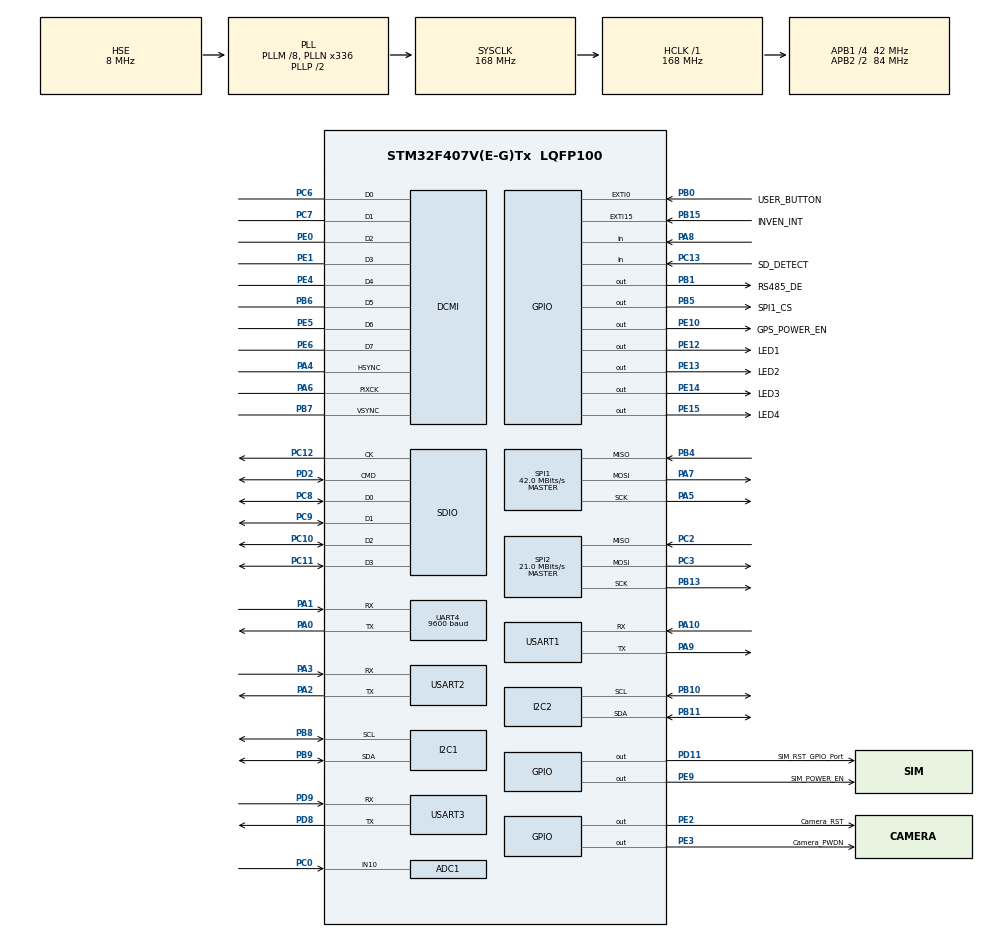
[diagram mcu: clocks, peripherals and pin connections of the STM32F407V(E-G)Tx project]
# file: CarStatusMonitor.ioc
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ADC1.Channel-0\#ChannelRegularConversion=ADC_CHANNEL_10
ADC1.NbrOfConversionFlag=1
ADC1.Rank-0\#ChannelRegularConversion=1
ADC1.SamplingTime-0\#ChannelRegularConversion=ADC_SAMPLETIME_3CYCLES
ADC1.master=1
DCMI.JPEGMode=DCMI_JPEG_DISABLE
DCMI.PCKPolarity=DCMI_PCKPOLARITY_RISING
Dma.DCMI.2.Direction=DMA_PERIPH_TO_MEMORY
Dma.DCMI.2.FIFOMode=DMA_FIFOMODE_DISABLE
Dma.DCMI.2.Instance=DMA2_Stream1
Dma.DCMI.2.MemDataAlignment=DMA_MDATAALIGN_WORD
Dma.DCMI.2.MemInc=DMA_MINC_ENABLE
Dma.DCMI.2.Mode=DMA_CIRCULAR
Dma.DCMI.2.PeriphDataAlignment=DMA_PDATAALIGN_WORD
Dma.DCMI.2.PeriphInc=DMA_PINC_DISABLE
Dma.DCMI.2.Priority=DMA_PRIORITY_LOW
Dma.Request0=USART2_RX
Dma.Request1=UART4_RX
Dma.Request2=DCMI
Dma.Request3=SDIO_RX
Dma.Request4=SDIO_TX
Dma.SDIO_RX.3.Direction=DMA_PERIPH_TO_MEMORY
Dma.SDIO_RX.3.FIFOMode=DMA_FIFOMODE_ENABLE
Dma.SDIO_RX.3.FIFOThreshold=DMA_FIFO_THRESHOLD_FULL
Dma.SDIO_RX.3.Instance=DMA2_Stream3
Dma.SDIO_RX.3.MemBurst=DMA_MBURST_INC4
Dma.SDIO_RX.3.MemDataAlignment=DMA_MDATAALIGN_WORD
Dma.SDIO_RX.3.MemInc=DMA_MINC_ENABLE
Dma.SDIO_RX.3.Mode=DMA_PFCTRL
Dma.SDIO_RX.3.PeriphBurst=DMA_PBURST_INC4
Dma.SDIO_RX.3.PeriphDataAlignment=DMA_PDATAALIGN_WORD
Dma.SDIO_RX.3.PeriphInc=DMA_PINC_DISABLE
Dma.SDIO_RX.3.Priority=DMA_PRIORITY_LOW
Dma.SDIO_TX.4.Direction=DMA_MEMORY_TO_PERIPH
Dma.SDIO_TX.4.FIFOMode=DMA_FIFOMODE_ENABLE
Dma.SDIO_TX.4.FIFOThreshold=DMA_FIFO_THRESHOLD_FULL
Dma.SDIO_TX.4.Instance=DMA2_Stream6
Dma.SDIO_TX.4.MemBurst=DMA_MBURST_INC4
Dma.SDIO_TX.4.MemDataAlignment=DMA_MDATAALIGN_WORD
Dma.SDIO_TX.4.MemInc=DMA_MINC_ENABLE
Dma.SDIO_TX.4.Mode=DMA_PFCTRL
Dma.SDIO_TX.4.PeriphBurst=DMA_PBURST_INC4
Dma.SDIO_TX.4.PeriphDataAlignment=DMA_PDATAALIGN_WORD
Dma.SDIO_TX.4.PeriphInc=DMA_PINC_DISABLE
Dma.SDIO_TX.4.Priority=DMA_PRIORITY_LOW
Dma.UART4_RX.1.Direction=DMA_PERIPH_TO_MEMORY
Dma.UART4_RX.1.FIFOMode=DMA_FIFOMODE_DISABLE
Dma.UART4_RX.1.Instance=DMA1_Stream2
Dma.UART4_RX.1.MemDataAlignment=DMA_MDATAALIGN_BYTE
Dma.UART4_RX.1.MemInc=DMA_MINC_ENABLE
Dma.UART4_RX.1.Mode=DMA_NORMAL
Dma.UART4_RX.1.PeriphDataAlignment=DMA_PDATAALIGN_BYTE
Dma.UART4_RX.1.PeriphInc=DMA_PINC_DISABLE
Dma.UART4_RX.1.Priority=DMA_PRIORITY_LOW
Dma.USART2_RX.0.Direction=DMA_PERIPH_TO_MEMORY
Dma.USART2_RX.0.FIFOMode=DMA_FIFOMODE_DISABLE
Dma.USART2_RX.0.Instance=DMA1_Stream5
Dma.USART2_RX.0.MemDataAlignment=DMA_MDATAALIGN_BYTE
Dma.USART2_RX.0.MemInc=DMA_MINC_ENABLE
Dma.USART2_RX.0.Mode=DMA_NORMAL
Dma.USART2_RX.0.PeriphDataAlignment=DMA_PDATAALIGN_BYTE
Dma.USART2_RX.0.PeriphInc=DMA_PINC_DISABLE
Dma.USART2_RX.0.Priority=DMA_PRIORITY_LOW
FATFS.BSP.number=1
FATFS0.BSP.STBoard=false
FATFS0.BSP.api=Unknown
FATFS0.BSP.instance=PC13-ANTI_TAMP
FATFS0.BSP.ip=GPIO
FATFS0.BSP.mode=Input
FATFS0.BSP.name=Detect_SDIO
FATFS0.BSP.solution=PC13-ANTI_TAMP
FREERTOS.INCLUDE_uxTaskGetStackHighWaterMark=1
FREERTOS.INCLUDE_vTaskDelayUntil=1
FREERTOS.Tasks01=defaultTask,-2,128,StartDefaultTask,Default,NULL,Dynamic,NULL,NULL;myTaskGPS,-1,512,StartTaskGPS,As external,NULL,Dynamic,NULL,NULL;myTaskMPU,1,1024,StartTaskMPU,As external,NULL,Dynamic,NULL,NULL;myTaskSensors,0,256,StartTaskSensorsGet,As external,NULL,Dynamic,NULL,NULL;uSDThread,-1,1024,StartTaskSD,As external,NULL,Dynamic,NULL,NULL;myTaskGSM,0,1024,StartTaskGSM,As external,NULL,Dynamic,NULL,NULL;myTaskCamera,-1,1024,StartTaskCamera,As external,NULL,Dynamic,NULL,NULL
FREERTOS.configTOTAL_HEAP_SIZE=0x8000
FREERTOS.configUSE_COUNTING_SEMAPHORES=1
FREERTOS.configUSE_TICKLESS_IDLE=1
FREERTOS.configUSE_TRACE_FACILITY=1
I2C1.I2C_Mode=I2C_Fast
I2C2.I2C_Mode=I2C_Standard
Mcu.Family=STM32F4
Mcu.Name=STM32F407V(E-G)Tx
Mcu.Package=LQFP100
NVIC.DCMI_IRQn=true\:5\:0\:false\:false\:true\:true\:true
NVIC.DMA1_Stream2_IRQn=true\:5\:0\:false\:false\:true\:true\:false
NVIC.DMA1_Stream5_IRQn=true\:5\:0\:false\:false\:true\:true\:false
NVIC.DMA2_Stream1_IRQn=true\:5\:0\:false\:false\:true\:true\:false
NVIC.DMA2_Stream3_IRQn=true\:5\:0\:false\:false\:true\:true\:false
NVIC.DMA2_Stream6_IRQn=true\:5\:0\:false\:false\:true\:true\:false
NVIC.EXTI0_IRQn=true\:5\:0\:false\:false\:true\:true\:true
NVIC.EXTI15_10_IRQn=true\:6\:0\:true\:false\:true\:true\:true
NVIC.PriorityGroup=NVIC_PRIORITYGROUP_4
NVIC.SDIO_IRQn=true\:5\:0\:false\:false\:true\:true\:true
NVIC.TIM2_IRQn=true\:0\:0\:false\:false\:true\:false\:false
NVIC.TimeBase=TIM2_IRQn
NVIC.TimeBaseIP=TIM2
NVIC.UART4_IRQn=true\:8\:0\:true\:false\:true\:true\:true
NVIC.USART1_IRQn=true\:5\:0\:false\:false\:true\:true\:true
NVIC.USART2_IRQn=true\:5\:0\:false\:false\:true\:true\:true
NVIC.USART3_IRQn=true\:5\:0\:false\:false\:true\:true\:true
PA0-WKUP.Mode=Asynchronous
PA0-WKUP.Signal=UART4_TX
PA1.Mode=Asynchronous
PA1.Signal=UART4_RX
PA10.Mode=Asynchronous
PA10.Signal=USART1_RX
PA13.Mode=Trace_Asynchronous_SW
PA13.Signal=SYS_JTMS-SWDIO
PA14.Mode=Trace_Asynchronous_SW
PA14.Signal=SYS_JTCK-SWCLK
PA2.Mode=Asynchronous
PA2.Signal=USART2_TX
PA3.Mode=Asynchronous
PA3.Signal=USART2_RX
PA4.GPIO_PuPd=GPIO_PULLUP
PA4.GPIO_Speed=GPIO_SPEED_FREQ_HIGH
PA4.Mode=Slave_8_bits_External_Synchro
PA4.Signal=DCMI_HSYNC
PA5.Mode=Full_Duplex_Master
PA5.Signal=SPI1_SCK
PA6.GPIO_PuPd=GPIO_PULLUP
PA6.GPIO_Speed=GPIO_SPEED_FREQ_HIGH
PA6.Mode=Slave_8_bits_External_Synchro
PA6.Signal=DCMI_PIXCK
PA7.Mode=Full_Duplex_Master
PA7.Signal=SPI1_MOSI
PA8.Signal=GPIO_Input
PA9.Mode=Asynchronous
PA9.Signal=USART1_TX
PB0.GPIO_Label=USER_BUTTON
PB0.GPIO_ModeDefaultEXTI=GPIO_MODE_IT_FALLING
PB0.Signal=GPXTI0
PB1.GPIO_Label=RS485_DE
PB1.GPIO_PuPd=GPIO_PULLUP
PB1.Signal=GPIO_Output
PB10.GPIO_PuPdOD=GPIO_NOPULL
PB10.Mode=I2C
PB10.Signal=I2C2_SCL
PB11.GPIO_PuPdOD=GPIO_NOPULL
PB11.Mode=I2C
PB11.Signal=I2C2_SDA
PB12.Signal=SPI2_NSS
PB13.Mode=Full_Duplex_Master
PB13.Signal=SPI2_SCK
PB15.GPIO_Label=INVEN_INT
PB15.GPIO_ModeDefaultEXTI=GPIO_MODE_IT_FALLING
PB15.GPIO_PuPd=GPIO_PULLUP
PB15.Signal=GPXTI15
PB3.Mode=Trace_Asynchronous_SW
PB3.Signal=SYS_JTDO-SWO
PB4.Mode=Full_Duplex_Master
PB4.Signal=SPI1_MISO
PB5.GPIO_Label=SPI1_CS
PB5.GPIO_PuPd=GPIO_PULLDOWN
PB5.Signal=GPIO_Output
PB6.GPIO_PuPd=GPIO_PULLUP
PB6.GPIO_Speed=GPIO_SPEED_FREQ_HIGH
PB6.Mode=Slave_8_bits_External_Synchro
PB6.Signal=DCMI_D5
PB7.GPIO_PuPd=GPIO_PULLUP
PB7.GPIO_Speed=GPIO_SPEED_FREQ_HIGH
PB7.Mode=Slave_8_bits_External_Synchro
PB7.Signal=DCMI_VSYNC
PB8.Mode=I2C
PB8.Signal=I2C1_SCL
PB9.Mode=I2C
PB9.Signal=I2C1_SDA
PC0.Signal=ADCx_IN10
PC10.Mode=SD_4_bits_Wide_bus
PC10.Signal=SDIO_D2
PC11.Mode=SD_4_bits_Wide_bus
PC11.Signal=SDIO_D3
PC12.Mode=SD_4_bits_Wide_bus
PC12.Signal=SDIO_CK
PC13-ANTI_TAMP.GPIO_Label=SD_DETECT
PC13-ANTI_TAMP.Signal=GPIO_Input
PC14-OSC32_IN.Mode=LSE-External-Oscillator
PC14-OSC32_IN.Signal=RCC_OSC32_IN
PC15-OSC32_OUT.Mode=LSE-External-Oscillator
PC15-OSC32_OUT.Signal=RCC_OSC32_OUT
PC2.Mode=Full_Duplex_Master
PC2.Signal=SPI2_MISO
PC3.Mode=Full_Duplex_Master
PC3.Signal=SPI2_MOSI
PC6.GPIO_PuPd=GPIO_PULLUP
PC6.GPIO_Speed=GPIO_SPEED_FREQ_HIGH
PC6.Mode=Slave_8_bits_External_Synchro
PC6.Signal=DCMI_D0
PC7.GPIO_PuPd=GPIO_PULLUP
PC7.GPIO_Speed=GPIO_SPEED_FREQ_HIGH
PC7.Mode=Slave_8_bits_External_Synchro
PC7.Signal=DCMI_D1
PC8.Mode=SD_4_bits_Wide_bus
PC8.Signal=SDIO_D0
PC9.Mode=SD_4_bits_Wide_bus
PC9.Signal=SDIO_D1
PD11.GPIO_Label=SIM_RST_GPIO_Port
PD11.GPIO_PuPd=GPIO_NOPULL
PD11.Signal=GPIO_Output
PD2.Mode=SD_4_bits_Wide_bus
PD2.Signal=SDIO_CMD
PD8.Mode=Asynchronous
PD8.Signal=USART3_TX
PD9.Mode=Asynchronous
PD9.Signal=USART3_RX
PE0.GPIO_PuPd=GPIO_PULLUP
PE0.GPIO_Speed=GPIO_SPEED_FREQ_HIGH
PE0.Mode=Slave_8_bits_External_Synchro
PE0.Signal=DCMI_D2
PE1.GPIO_PuPd=GPIO_PULLUP
PE1.GPIO_Speed=GPIO_SPEED_FREQ_HIGH
PE1.Mode=Slave_8_bits_External_Synchro
PE1.Signal=DCMI_D3
PE10.GPIO_Label=GPS_POWER_EN
PE10.GPIO_PuPd=GPIO_PULLDOWN
PE10.Signal=GPIO_Output
PE12.GPIO_Label=LED1
PE12.GPIO_PuPd=GPIO_PULLDOWN
PE12.Signal=GPIO_Output
PE13.GPIO_Label=LED2
PE13.GPIO_PuPd=GPIO_PULLDOWN
PE13.Signal=GPIO_Output
PE14.GPIO_Label=LED3
PE14.GPIO_PuPd=GPIO_PULLDOWN
PE14.Signal=GPIO_Output
PE15.GPIO_Label=LED4
PE15.GPIO_PuPd=GPIO_PULLDOWN
PE15.Signal=GPIO_Output
PE2.GPIO_Label=Camera_RST
PE2.GPIO_PuPd=GPIO_PULLUP
PE2.Signal=GPIO_Output
PE3.GPIO_Label=Camera_PWDN
PE3.GPIO_PuPd=GPIO_PULLUP
PE3.Signal=GPIO_Output
PE4.GPIO_PuPd=GPIO_PULLUP
PE4.GPIO_Speed=GPIO_SPEED_FREQ_HIGH
PE4.Mode=Slave_8_bits_External_Synchro
PE4.Signal=DCMI_D4
PE5.GPIO_PuPd=GPIO_PULLUP
PE5.GPIO_Speed=GPIO_SPEED_FREQ_HIGH
PE5.Mode=Slave_8_bits_External_Synchro
PE5.Signal=DCMI_D6
PE6.GPIO_PuPd=GPIO_PULLUP
PE6.GPIO_Speed=GPIO_SPEED_FREQ_HIGH
PE6.Mode=Slave_8_bits_External_Synchro
PE6.Signal=DCMI_D7
PE9.GPIO_Label=SIM_POWER_EN
PE9.GPIO_PuPd=GPIO_PULLDOWN
PE9.Signal=GPIO_Output
PH0-OSC_IN.Mode=HSE-External-Oscillator
PH0-OSC_IN.Signal=RCC_OSC_IN
PH1-OSC_OUT.Mode=HSE-External-Oscillator
PH1-OSC_OUT.Signal=RCC_OSC_OUT
ProjectManager.HeapSize=0x200
ProjectManager.StackSize=0x400
ProjectManager.TargetToolchain=MDK-ARM V5
RCC.48MHZClocksFreq_Value=48000000
RCC.AHBFreq_Value=168000000
RCC.APB1CLKDivider=RCC_HCLK_DIV4
RCC.APB1Freq_Value=42000000
RCC.APB1TimFreq_Value=84000000
RCC.APB2CLKDivider=RCC_HCLK_DIV2
RCC.APB2Freq_Value=84000000
RCC.APB2TimFreq_Value=168000000
RCC.CortexFreq_Value=168000000
RCC.HCLKFreq_Value=168000000
RCC.HSE_VALUE=8000000
RCC.HSI_VALUE=16000000
RCC.PLLM=8
RCC.PLLN=336
RCC.PLLQ=7
RCC.PLLSourceVirtual=RCC_PLLSOURCE_HSE
RCC.RCC_MCO1Source=RCC_MCO1SOURCE_PLLCLK
RCC.RCC_MCODiv1=RCC_MCODIV_5
RCC.RCC_RTC_Clock_Source=RCC_RTCCLKSOURCE_LSE
RCC.RCC_RTC_Clock_SourceVirtual=RCC_RTCCLKSOURCE_LSE
RCC.SYSCLKFreq_VALUE=168000000
RCC.SYSCLKSource=RCC_SYSCLKSOURCE_PLLCLK
RCC.VCOOutputFreq_Value=336000000
RTC.Date=17
RTC.Format=RTC_FORMAT_BIN
RTC.Month=RTC_MONTH_JUNE
SH.ADCx_IN10.0=ADC1_IN10,IN10
SPI1.BaudRatePrescaler=SPI_BAUDRATEPRESCALER_2
SPI1.CalculateBaudRate=42.0 MBits/s
SPI1.Direction=SPI_DIRECTION_2LINES
SPI1.Mode=SPI_MODE_MASTER
SPI1.VirtualType=VM_MASTER
SPI2.BaudRatePrescaler=SPI_BAUDRATEPRESCALER_2
SPI2.CalculateBaudRate=21.0 MBits/s
SPI2.Direction=SPI_DIRECTION_2LINES
SPI2.Mode=SPI_MODE_MASTER
SPI2.VirtualType=VM_MASTER
UART4.BaudRate=9600
UART4.VirtualMode=Asynchronous
USART1.VirtualMode=VM_ASYNC
USART2.VirtualMode=VM_ASYNC
USART3.VirtualMode=VM_ASYNC
VP_CRC_VS_CRC.Mode=CRC_Activate
VP_FATFS_VS_Generic.Mode=User_defined
VP_FATFS_VS_SDIO.Mode=SDIO
VP_FREERTOS_VS_ENABLE.Mode=Enabled
VP_RTC_VS_RTC_Activate.Mode=RTC_Enabled
VP_RTC_VS_RTC_Calendar.Mode=RTC_Calendar
VP_SYS_VS_tim2.Mode=TIM2
board=custom

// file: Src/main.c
/**
  ******************************************************************************
  * @file           : main.c
  * @brief          : Main program body
  ******************************************************************************
  * This notice applies to any and all portions of this file
  * that are not between comment pairs USER CODE BEGIN and
  * USER CODE END. Other portions of this file, whether
  * inserted by the user or by software development tools
  * are owned by their respective copyright owners.
  *
  * Copyright (c) 2019 STMicroelectronics International N.V.
  * All rights reserved.
  *
  * Redistribution and use in source and binary forms, with or without
  * modification, are permitted, provided that the following conditions are met:
  *
  * 1. Redistribution of source code must retain the above copyright notice,
  *    this list of conditions and the following disclaimer.
  * 2. Redistributions in binary form must reproduce the above copyright notice,
  *    this list of conditions and the following disclaimer in the documentation
  *    and/or other materials provided with the distribution.
  * 3. Neither the name of STMicroelectronics nor the names of other
  *    contributors to this software may be used to endorse or promote products
  *    derived from this software without specific written permission.
  * 4. This software, including modifications and/or derivative works of this
  *    software, must execute solely and exclusively on microcontroller or
  *    microprocessor devices manufactured by or for STMicroelectronics.
  * 5. Redistribution and use of this software other than as permitted under
  *    this license is void and will automatically terminate your rights under
  *    this license.
  *
  * THIS SOFTWARE IS PROVIDED BY STMICROELECTRONICS AND CONTRIBUTORS "AS IS"
  * AND ANY EXPRESS, IMPLIED OR STATUTORY WARRANTIES, INCLUDING, BUT NOT
  * LIMITED TO, THE IMPLIED WARRANTIES OF MERCHANTABILITY, FITNESS FOR A
  * PARTICULAR PURPOSE AND NON-INFRINGEMENT OF THIRD PARTY INTELLECTUAL PROPERTY
  * RIGHTS ARE DISCLAIMED TO THE FULLEST EXTENT PERMITTED BY LAW. IN NO EVENT
  * SHALL STMICROELECTRONICS OR CONTRIBUTORS BE LIABLE FOR ANY DIRECT, INDIRECT,
  * INCIDENTAL, SPECIAL, EXEMPLARY, OR CONSEQUENTIAL DAMAGES (INCLUDING, BUT NOT
  * LIMITED TO, PROCUREMENT OF SUBSTITUTE GOODS OR SERVICES; LOSS OF USE, DATA,
  * OR PROFITS; OR BUSINESS INTERRUPTION) HOWEVER CAUSED AND ON ANY THEORY OF
  * LIABILITY, WHETHER IN CONTRACT, STRICT LIABILITY, OR TORT (INCLUDING
  * NEGLIGENCE OR OTHERWISE) ARISING IN ANY WAY OUT OF THE USE OF THIS SOFTWARE,
  * EVEN IF ADVISED OF THE POSSIBILITY OF SUCH DAMAGE.
  *
  ******************************************************************************
  */
#include "main.h"
#include "stm32f4xx_hal.h"
#include "cmsis_os.h"
#include "adc.h"
#include "crc.h"
#include "dcmi.h"
#include "dma.h"
#include "fatfs.h"
#include "i2c.h"
#include "rtc.h"
#include "sdio.h"
#include "spi.h"
#include "usart.h"
#include "gpio.h"

/* USER CODE BEGIN Includes */
#include "osprintf.h"
#include "easyflash.h"
#include <stdio.h>
#include "os_i2c.h"
#include "rtc_time.h"
/* USER CODE END Includes */

/* USER CODE BEGIN PV */
/* Private variables ---------------------------------------------------------*/
#define xConsoleUart  huart1

/* USER CODE END PV */

void SystemClock_Config(void);
void MX_FREERTOS_Init(void);

/* USER CODE BEGIN PFP */
/* Private function prototypes -----------------------------------------------*/

extern void HAL_GpsInit( void );

/* USER CODE END PFP */

/* USER CODE BEGIN 0 */
extern int SHT_TEST(void) ;
extern int bmp280_test(void);
extern void opt_test(void );
extern int mpu_main(void);

/* USER CODE END 0 */

int main(void)
{
  /* USER CODE BEGIN 1 */
nmeaTIME	local_time;
  /* USER CODE END 1 */

  /* MCU Configuration----------------------------------------------------------*/

  /* Reset of all peripherals, Initializes the Flash interface and the Systick. */
  HAL_Init();

  /* Configure the system clock */
  SystemClock_Config();

  /* Initialize all configured peripherals */
  MX_GPIO_Init();
  MX_DMA_Init();
  MX_ADC1_Init();
  MX_CRC_Init();
  MX_DCMI_Init();
  MX_I2C1_Init();
  MX_I2C2_Init();
  MX_RTC_Init();
  MX_SDIO_SD_Init();
  MX_SPI1_Init();
  MX_SPI2_Init();
  MX_UART4_Init();
  MX_USART1_UART_Init();
  MX_USART2_UART_Init();
  MX_USART3_UART_Init();
  /* USER CODE BEGIN 2 */
 //   HAL_NVIC_DisableIRQ(EXTI15_10_IRQn);
	os_iic();
	 if (easyflash_init() == EF_NO_ERR) {
         printf("easy flash success!\r\n");
	 }
	 else
	 {
		  printf("easy flash error!\r\n");
		 while(1);
	 }
	osprintf_init();
//	mpu_main();// SHT_TEST();//
	 //opt_test(  );
//bmp280_test(); //SHT_TEST();
	HAL_GpsInit( );
	TM_GetLocaltime(&local_time);
	printf("start time is %d:%d:%d\r\n",local_time.hour,local_time.min,local_time.sec);
  /* USER CODE END 2 */

  /* Call init function for freertos objects (in freertos.c) */
  MX_FREERTOS_Init();

  /* Start scheduler */
  osKernelStart();

  /* We should never get here as control is now taken by the scheduler */

  /* Infinite loop */
  while (1)
  {

  }

}

void SystemClock_Config(void)
{

  RCC_OscInitTypeDef RCC_OscInitStruct;
  RCC_ClkInitTypeDef RCC_ClkInitStruct;
  RCC_PeriphCLKInitTypeDef PeriphClkInitStruct;

    /**Configure the main internal regulator output voltage
    */
  __HAL_RCC_PWR_CLK_ENABLE();

  __HAL_PWR_VOLTAGESCALING_CONFIG(PWR_REGULATOR_VOLTAGE_SCALE1);

    /**Initializes the CPU, AHB and APB busses clocks
    */
  RCC_OscInitStruct.OscillatorType = RCC_OSCILLATORTYPE_HSE|RCC_OSCILLATORTYPE_LSE;
  RCC_OscInitStruct.HSEState = RCC_HSE_ON;
  RCC_OscInitStruct.LSEState = RCC_LSE_ON;
  RCC_OscInitStruct.PLL.PLLState = RCC_PLL_ON;
  RCC_OscInitStruct.PLL.PLLSource = RCC_PLLSOURCE_HSE;
  RCC_OscInitStruct.PLL.PLLM = 8;
  RCC_OscInitStruct.PLL.PLLN = 336;
  RCC_OscInitStruct.PLL.PLLP = RCC_PLLP_DIV2;
  RCC_OscInitStruct.PLL.PLLQ = 7;
  if (HAL_RCC_OscConfig(&RCC_OscInitStruct) != HAL_OK)
  {
    _Error_Handler(__FILE__, __LINE__);
  }

    /**Initializes the CPU, AHB and APB busses clocks
    */
  RCC_ClkInitStruct.ClockType = RCC_CLOCKTYPE_HCLK|RCC_CLOCKTYPE_SYSCLK
                              |RCC_CLOCKTYPE_PCLK1|RCC_CLOCKTYPE_PCLK2;
  RCC_ClkInitStruct.SYSCLKSource = RCC_SYSCLKSOURCE_PLLCLK;
  RCC_ClkInitStruct.AHBCLKDivider = RCC_SYSCLK_DIV1;
  RCC_ClkInitStruct.APB1CLKDivider = RCC_HCLK_DIV4;
  RCC_ClkInitStruct.APB2CLKDivider = RCC_HCLK_DIV2;

  if (HAL_RCC_ClockConfig(&RCC_ClkInitStruct, FLASH_LATENCY_5) != HAL_OK)
  {
    _Error_Handler(__FILE__, __LINE__);
  }

  PeriphClkInitStruct.PeriphClockSelection = RCC_PERIPHCLK_RTC;
  PeriphClkInitStruct.RTCClockSelection = RCC_RTCCLKSOURCE_LSE;
  if (HAL_RCCEx_PeriphCLKConfig(&PeriphClkInitStruct) != HAL_OK)
  {
    _Error_Handler(__FILE__, __LINE__);
  }

    /**Configure the Systick interrupt time
    */
  HAL_SYSTICK_Config(HAL_RCC_GetHCLKFreq()/1000);

    /**Configure the Systick
    */
  HAL_SYSTICK_CLKSourceConfig(SYSTICK_CLKSOURCE_HCLK);

  /* SysTick_IRQn interrupt configuration */
  HAL_NVIC_SetPriority(SysTick_IRQn, 15, 0);
}

/* USER CODE BEGIN 4 */
#if (defined(__GNUC__) && !defined(__CC_ARM))
/* With GCC/RAISONANCE, small printf (option LD Linker->Libraries->Small printf
   set to 'Yes') calls __io_putchar() */
#define PUTCHAR_PROTOTYPE int __io_putchar(int ch)
#define GETCHAR_PROTOTYPE int __io_getchar(void)
#else
#define PUTCHAR_PROTOTYPE int fputc(int ch, FILE *f)
#define GETCHAR_PROTOTYPE int fgetc(FILE *f)
#endif /* __GNUC__ */

/**
  * @brief  Retargets the C library printf function to the USART.
  * @param  None
  * @retval None
  */
PUTCHAR_PROTOTYPE
{
  /* Place your implementation of fputc here */
  /* e.g. write a character to the USART2 and Loop until the end of transmission */
    HAL_UART_Transmit(&xConsoleUart, (uint8_t *) &ch, 1, 30000);

  return ch;
}

/**
  * @brief  Retargets the C library scanf function to the USART.
  * @param  None
  * @retval None
  */
GETCHAR_PROTOTYPE
{
  /* Place your implementation of fgetc here */
  /* e.g. read a character on USART and loop until the end of read */
  uint8_t ch = 0;
  while (HAL_OK != HAL_UART_Receive(&xConsoleUart, (uint8_t *)&ch, 1, 30000))
  {
    ;
  }
  return ch;
}
void vMainUARTPrintString( char * pcString )
{
    const uint32_t ulTimeout = 3000UL;

    HAL_UART_Transmit( &xConsoleUart,
                       ( uint8_t * ) pcString,
                       strlen( pcString ),
                       ulTimeout );
}

/* USER CODE END 4 */

void HAL_TIM_PeriodElapsedCallback(TIM_HandleTypeDef *htim)
{
  if (htim->Instance == TIM2) {
    HAL_IncTick();
  }
}

void _Error_Handler(char *file, int line)
{
  while(1)
  {
  }
}

/************************ (C) COPYRIGHT STMicroelectronics *****END OF FILE****/

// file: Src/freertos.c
/* USER CODE BEGIN Header */
/**
  ******************************************************************************
  * File Name          : freertos.c
  * Description        : Code for freertos applications
  ******************************************************************************
  * This notice applies to any and all portions of this file
  * that are not between comment pairs USER CODE BEGIN and
  * USER CODE END. Other portions of this file, whether
  * inserted by the user or by software development tools
  * are owned by their respective copyright owners.
  *
  * Copyright (c) 2019 STMicroelectronics International N.V.
  * All rights reserved.
  *
  * Redistribution and use in source and binary forms, with or without
  * modification, are permitted, provided that the following conditions are met:
  *
  * 1. Redistribution of source code must retain the above copyright notice,
  *    this list of conditions and the following disclaimer.
  * 2. Redistributions in binary form must reproduce the above copyright notice,
  *    this list of conditions and the following disclaimer in the documentation
  *    and/or other materials provided with the distribution.
  * 3. Neither the name of STMicroelectronics nor the names of other
  *    contributors to this software may be used to endorse or promote products
  *    derived from this software without specific written permission.
  * 4. This software, including modifications and/or derivative works of this
  *    software, must execute solely and exclusively on microcontroller or
  *    microprocessor devices manufactured by or for STMicroelectronics.
  * 5. Redistribution and use of this software other than as permitted under
  *    this license is void and will automatically terminate your rights under
  *    this license.
  *
  * THIS SOFTWARE IS PROVIDED BY STMICROELECTRONICS AND CONTRIBUTORS "AS IS"
  * AND ANY EXPRESS, IMPLIED OR STATUTORY WARRANTIES, INCLUDING, BUT NOT
  * LIMITED TO, THE IMPLIED WARRANTIES OF MERCHANTABILITY, FITNESS FOR A
  * PARTICULAR PURPOSE AND NON-INFRINGEMENT OF THIRD PARTY INTELLECTUAL PROPERTY
  * RIGHTS ARE DISCLAIMED TO THE FULLEST EXTENT PERMITTED BY LAW. IN NO EVENT
  * SHALL STMICROELECTRONICS OR CONTRIBUTORS BE LIABLE FOR ANY DIRECT, INDIRECT,
  * INCIDENTAL, SPECIAL, EXEMPLARY, OR CONSEQUENTIAL DAMAGES (INCLUDING, BUT NOT
  * LIMITED TO, PROCUREMENT OF SUBSTITUTE GOODS OR SERVICES; LOSS OF USE, DATA,
  * OR PROFITS; OR BUSINESS INTERRUPTION) HOWEVER CAUSED AND ON ANY THEORY OF
  * LIABILITY, WHETHER IN CONTRACT, STRICT LIABILITY, OR TORT (INCLUDING
  * NEGLIGENCE OR OTHERWISE) ARISING IN ANY WAY OUT OF THE USE OF THIS SOFTWARE,
  * EVEN IF ADVISED OF THE POSSIBILITY OF SUCH DAMAGE.
  *
  ******************************************************************************
  */
/* USER CODE END Header */

#include "FreeRTOS.h"
#include "task.h"
#include "main.h"
#include "cmsis_os.h"

/* USER CODE BEGIN Includes */
//#include "cellular_init.h"
#include "stdlib.h"
#include "sim_service.h"
/* USER CODE END Includes */

osThreadId defaultTaskHandle;
osThreadId myTaskGPSHandle;
osThreadId myTaskMPUHandle;
osThreadId myTaskSensorsHandle;
osThreadId uSDThreadHandle;
osThreadId myTaskGSMHandle;
osThreadId myTaskCameraHandle;

void StartDefaultTask(void const * argument);
extern void StartTaskGPS(void const * argument);
extern void StartTaskMPU(void const * argument);
extern void StartTaskSensorsGet(void const * argument);
extern void StartTaskSD(void const * argument);
extern void StartTaskGSM(void const * argument);
extern void StartTaskCamera(void const * argument);

extern void MX_FATFS_Init(void);
void MX_FREERTOS_Init(void); /* (MISRA C 2004 rule 8.1) */

/* Pre/Post sleep processing prototypes */
void PreSleepProcessing(uint32_t *ulExpectedIdleTime);
void PostSleepProcessing(uint32_t *ulExpectedIdleTime);

/* USER CODE BEGIN PREPOSTSLEEP */
__weak void PreSleepProcessing(uint32_t *ulExpectedIdleTime)
{
/* place for user code */
}

__weak void PostSleepProcessing(uint32_t *ulExpectedIdleTime)
{
/* place for user code */
}
/* USER CODE END PREPOSTSLEEP */

void MX_FREERTOS_Init(void) {

  /* Create the thread(s) */
  /* definition and creation of defaultTask */
  osThreadDef(defaultTask, StartDefaultTask, osPriorityLow, 0, 128);
  defaultTaskHandle = osThreadCreate(osThread(defaultTask), NULL);

  /* definition and creation of myTaskGPS */
  osThreadDef(myTaskGPS, StartTaskGPS, osPriorityBelowNormal, 0, 512);
  myTaskGPSHandle = osThreadCreate(osThread(myTaskGPS), NULL);

  /* definition and creation of myTaskMPU */
  osThreadDef(myTaskMPU, StartTaskMPU, osPriorityAboveNormal, 0, 1024);
  myTaskMPUHandle = osThreadCreate(osThread(myTaskMPU), NULL);

  /* definition and creation of myTaskSensors */
  osThreadDef(myTaskSensors, StartTaskSensorsGet, osPriorityNormal, 0, 512);
  myTaskSensorsHandle = osThreadCreate(osThread(myTaskSensors), NULL);

  /* definition and creation of uSDThread */
  osThreadDef(uSDThread, StartTaskSD, osPriorityBelowNormal, 0, 1024);
  uSDThreadHandle = osThreadCreate(osThread(uSDThread), NULL);

  /* definition and creation of myTaskGSM */
  osThreadDef(myTaskGSM, StartTaskGSM, osPriorityNormal, 0, 1024);
  myTaskGSMHandle = osThreadCreate(osThread(myTaskGSM), NULL);

  /* definition and creation of myTaskCamera */
//  osThreadDef(myTaskCamera, StartTaskCamera, osPriorityBelowNormal, 0, 1024);
//  myTaskCameraHandle = osThreadCreate(osThread(myTaskCamera), NULL);

}

void StartDefaultTask(void const * argument)
{
  /* init code for FATFS */
//  MX_FATFS_Init();

  /* USER CODE BEGIN StartDefaultTask */
	  /* statical init of components */

  /* Infinite loop */
  for(;;)
  {
    osDelay(1);
  }
  /* USER CODE END StartDefaultTask */
}

/************************ (C) COPYRIGHT STMicroelectronics *****END OF FILE****/
